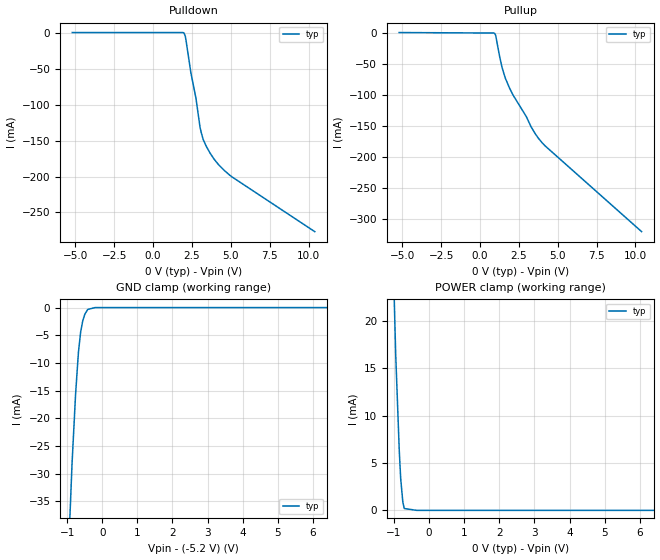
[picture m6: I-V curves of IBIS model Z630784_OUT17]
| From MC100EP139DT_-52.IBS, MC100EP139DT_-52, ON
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| (C) COPYRIGHT 1993-2000
| MENTOR GRAPHICS CORPORATION
| ICX STANDARD LIBRARY, ICX PROJECT MODELING,
| ICX CUSTOM MODELING, ICX VENDOR MODEL
| ALL RIGHTS RESERVED.
| THE FOLLOWING ARE TRADEMARKS OR SERVICE MARKS OF
| MENTOR GRAPHICS CORPORATION:ICX (R), ICX STANDARD
| LIBRARY(R), ICX PROJECT MODELING(R), ICX CUSTOM
| MODELING(R), qualityIBIS(TM), MODELVIEWER(TM),
| AND MODELEDITOR(TM)
| ALL COPIES OF SOFTWARE, INCLUDING BUT NOT LIMITED TO
| ANY MODIFICATIONS, ENHANCEMENTS OR DERIVATIVE WORKS,
| MUST CONTAIN ALL MENTOR GRAPHICS CORPORATION'S
| NOTICES AND LEGENDS, INCLUDING THOSE EMBEDDED IN
| SOFTWARE AND THOSE AFFIXED TO SOFTWARE MEDIUM
| AND CONTAINER, AS RECEIVED FROM MENTOR GRAPHICS
| CORPORATION.
| Model Application Version 1.89 2/18/99.
[Model] Z630784_OUT17
Model_type Output_ECL
Vref=-2.000V
Rref=50.00ohms
Cref=0.000F
Vmeas=-1.450V
C_comp 8.000pF NA NA
| variable typ   min   max
[Voltage Range] -5.200V NA NA
[POWER Clamp Reference] 0.000V NA NA
[Pullup Reference] 0.000V NA NA
[Pulldown Reference] 0.000V NA NA
[GND Clamp Reference] -5.200V NA NA
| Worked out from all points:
|   GND clamp passes 1 mA (typ) near -0.48 V on its own axis
|   POWER clamp passes 1 mA (typ) near -0.75 V on its own axis
[GND Clamp]
-5.2V     -714.8mA   NA         NA
-861mV    -28.17mA   NA         NA
-760mV    -15.61mA   NA         NA
-679mV    -8.071mA   NA         NA
-617mV    -4.457mA   NA         NA
-557mV    -2.414mA   NA         NA
-496mV    -1.186mA   NA         NA
-415mV    -342.9uA   NA         NA
-207.5mV  0A         NA         NA
10.4V     0A         NA         NA
[Pulldown]
-5.2V     0A         NA         NA
1.987V    -600uA     NA         NA
2.068V    -4.8mA     NA         NA
2.108V    -9.5mA     NA         NA
2.432V    -56mA      NA         NA
2.757V    -91.2mA    NA         NA
3.02V     -131.6mA   NA         NA
3.223V    -148.6mA   NA         NA
3.669V    -167.6mA   NA         NA
4.216V    -183.7mA   NA         NA
4.925V    -198.1mA   NA         NA
10.4V     -276.6mA   NA         NA
[Pullup]
-5.2V     696.2uA    NA         NA
932mV     -500uA     NA         NA
1.014V    -4.2mA     NA         NA
1.236V    -34.3mA    NA         NA
1.419V    -55.4mA    NA         NA
1.621V    -72.1mA    NA         NA
2.108V    -99.1mA    NA         NA
2.98V     -134.6mA   NA         NA
3.284V    -150.8mA   NA         NA
3.77V     -169.8mA   NA         NA
4.196V    -181.9mA   NA         NA
10.4V     -319.8mA   NA         NA
[POWER Clamp]
-5.2V     613.6mA    NA         NA
-953mV    16.46mA    NA         NA
-851mV    6.276mA    NA         NA
-811mV    3.381mA    NA         NA
-750mV    889.3uA    NA         NA
-709mV    194.7uA    NA         NA
-354.5mV  0A         NA         NA
10.4V     0A         NA         NA
[Ramp]
| variable typ min max
dV/dt_r 518.0m/115.6p NA NA
dV/dt_f 518.0m/112.4p NA NA
R_load = 50.00Ohms
